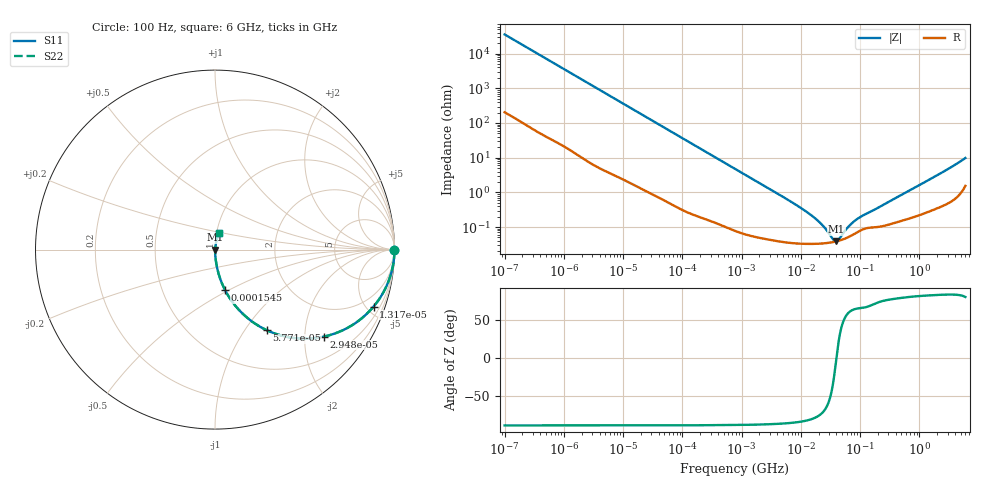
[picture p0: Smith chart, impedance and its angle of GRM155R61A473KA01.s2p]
!Murata Part Number: GRM155R61A473KA01
!These Parameters are Measured in Series Mode Connection
!Data Generated on Mar 30, 2021
!  o--ll--o
!Port1  Port2
!  o------o
!Operation Temp=25[degC], DC Bias Voltage=0[V]
!Freq. Start=100[Hz] Stop=6[GHz] 401[Steps]
# Hz S RI R 50
!Freq.(Hz) S11(Real) S11(Imag) S21(Real) S21(Imag) S12(Real) S12(Imag) S22(Real) S22(Imag)
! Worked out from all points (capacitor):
!   401 points, 100 Hz to 6 GHz, reference 50 ohm
!   read as one part in series: C = 44.3 nF near 109 Hz
!   lowest |Z| = 38.7 mohm at 39.84 MHz (marker M1)
!   series resonance near 39.92 MHz, so ESL is about 360 pH
!   S11 on the Smith chart (normalised r, x): 100 Hz: open; 13.17 kHz: 1.04, -5.54; 29.48 kHz: 1.02, -2.48; 57.71 kHz: 1.01, -1.27; 154.5 kHz: 1.00, -0.48; 6 GHz: 1.03, +0.19
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100  1 -0.00279  2.37e-05 0.00279  2.37e-05 0.00279  1 -0.00279
2008  0.9966 -0.0552  0.00336 0.0552  0.00336 0.0552  0.9966 -0.0552
5378  0.9778 -0.1445  0.0222 0.1445  0.0222 0.1445  0.9778 -0.1445
13169  0.8831 -0.3179  0.1169 0.3179  0.1169 0.3179  0.8831 -0.3179
19704  0.7733 -0.4152  0.2267 0.4152  0.2267 0.4152  0.7733 -0.4152
29482  0.606 -0.4849  0.394 0.4849  0.394 0.4849  0.606 -0.4849
40335  0.453 -0.4939  0.547 0.4939  0.547 0.4939  0.453 -0.4939
57709  0.29 -0.4498  0.71 0.4498  0.71 0.4498  0.29 -0.4498
90302  0.1446 -0.3476  0.8554 0.3476  0.8554 0.3476  0.1446 -0.3476
154540  0.0558 -0.2249  0.9442 0.2249  0.9442 0.2249  0.0558 -0.2249
316350  0.0149 -0.1152  0.9851 0.1152  0.9851 0.1152  0.0149 -0.1152
774597  0.00308 -0.0479  0.9969 0.0479  0.9969 0.0479  0.00308 -0.0479
6353432  0.000385 -0.0058  0.9996 0.0058  0.9996 0.0058  0.000385 -0.0058
1.555665e7  0.000331 -0.00206  0.9997 0.00206  0.9997 0.00206  0.000331 -0.00206
2.327686e7  0.000338 -0.00107  0.9997 0.00107  0.9997 0.00107  0.000338 -0.00107
3.482834e7  0.000368 -0.000258  0.9996 0.000258  0.9996 0.000258  0.000368 -0.000258
3.983537e7  0.000386 -4e-06  0.9996 4e-06  0.9996 4e-06  0.000386 -4e-06
4.35672e7  0.000402 0.000164  0.9996 -0.000164  0.9996 -0.000164  0.000402 0.000164
6.518806e7  0.000525 0.000931  0.9995 -0.000931  0.9995 -0.000931  0.000525 0.000931
8.527865e7  0.000675 0.00146  0.9993 -0.00146  0.9993 -0.00146  0.000675 0.00146
3.124326e8  0.00122 0.00533  0.9988 -0.00533  0.9988 -0.00533  0.00122 0.00533
6e9  0.0241 0.0933  0.9759 -0.0933  0.9759 -0.0933  0.0241 0.0933
